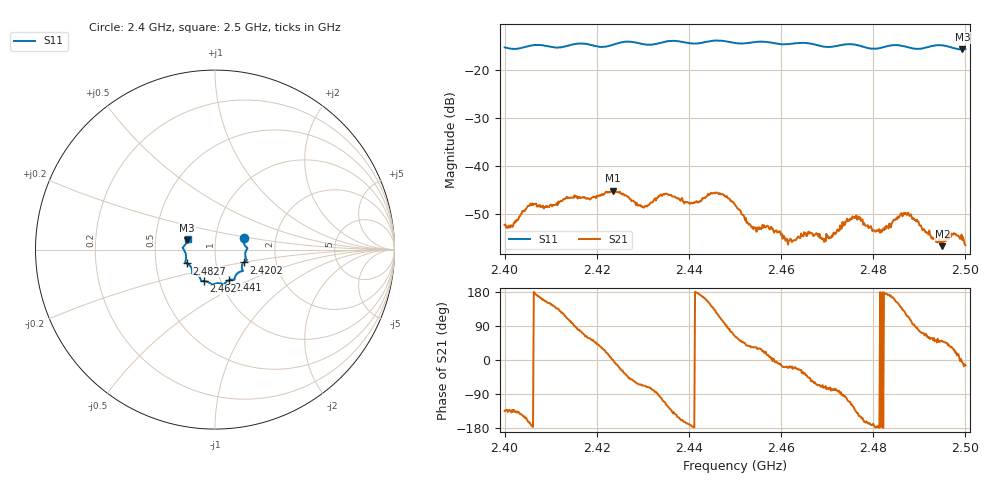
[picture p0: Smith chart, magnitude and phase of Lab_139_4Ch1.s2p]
# Hz S RI R 50
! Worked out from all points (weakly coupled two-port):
!   601 points, 2.4 GHz to 2.5 GHz, reference 50 ohm
!   highest |S21| = -45.18 dB at 2.4235 GHz (marker M1); lowest = -56.7 dB at 2.495 GHz (marker M2)
!   lowest |S11| = -15.8 dB at 2.4993 GHz (marker M3), VSWR 1.39, Z = 36.5 + j3.8 ohm
!   |S11| at or under -10 dB: start of sweep to end of sweep
!   S12 and S22 are empty: the file has one direction only
!   S11 on the Smith chart (normalised r, x): 2.4 GHz: 1.36, +0.18; 2.4202 GHz: 1.36, -0.20; 2.441 GHz: 1.10, -0.39; 2.462 GHz: 0.84, -0.30; 2.4827 GHz: 0.72, -0.11; 2.5 GHz: 0.73, +0.09
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2.4e9  0.1589 0.0628  -0.00171 -0.00174  0 0  0 0
2.4055e9  0.1771 0.0121  -0.00374 -0.000914  0 0  0 0
2.416667e9  0.1774 -0.0607  0.00126 0.00451  0 0  0 0
2.420167e9  0.159 -0.0717  0.00367 0.00327  0 0  0 0
2.4235e9  0.1502 -0.1025  0.00551 5.63e-05  0 0  0 0
2.429833e9  0.1384 -0.1235  0.00145 -0.00352  0 0  0 0
2.433333e9  0.1118 -0.1509  -0.000149 -0.00479  0 0  0 0
2.441e9  0.0787 -0.1698  -0.00416 -0.000178  0 0  0 0
2.445833e9  0.0502 -0.1952  -0.00317 0.00418  0 0  0 0
2.45e9  0.0286 -0.1873  0.00183 0.00348  0 0  0 0
2.454167e9  -0.0083 -0.1935  0.00193 0.00125  0 0  0 0
2.462e9  -0.0602 -0.1754  0.00164 -0.0006  0 0  0 0
2.466667e9  -0.079 -0.1683  0.00117 -0.00162  0 0  0 0
2.470667e9  -0.1008 -0.1403  0.000535 -0.00171  0 0  0 0
2.475833e9  -0.1276 -0.1314  -0.00176 -0.00234  0 0  0 0
2.480167e9  -0.1361 -0.0935  -0.00212 -0.000271  0 0  0 0
2.482667e9  -0.156 -0.0771  -0.00219 0.000215  0 0  0 0
2.483333e9  -0.1605 -0.075  -0.00221 0.000313  0 0  0 0
2.487167e9  -0.1631 -0.0586  -0.00153 0.00276  0 0  0 0
2.495e9  -0.1789 0.0127  0.00094 0.00112  0 0  0 0
2.499333e9  -0.1544 0.0507  0.00168 -0.000201  0 0  0 0
2.5e9  -0.1525 0.0602  0.00145 -0.000364  0 0  0 0
